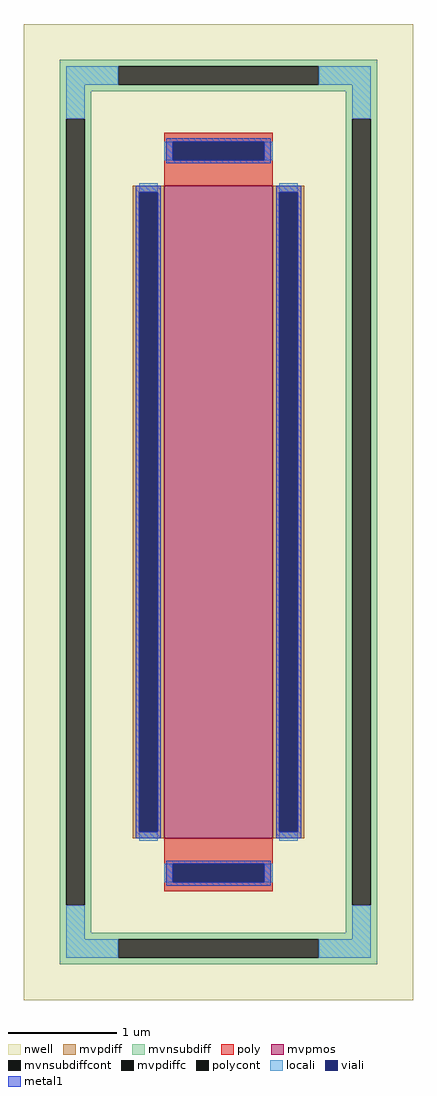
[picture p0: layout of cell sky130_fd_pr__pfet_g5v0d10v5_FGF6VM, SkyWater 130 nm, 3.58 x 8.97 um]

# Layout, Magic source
magic
tech sky130A
magscale 1 2
<< nwell >>
rect -358 -897 358 897
<< mvpmos >>
rect -100 -600 100 600
<< mvpdiff >>
rect -158 588 -100 600
rect -158 -588 -146 588
rect -112 -588 -100 588
rect -158 -600 -100 -588
rect 100 588 158 600
rect 100 -588 112 588
rect 146 -588 158 588
rect 100 -600 158 -588
<< mvpdiffc >>
rect -146 -588 -112 588
rect 112 -588 146 588
<< mvnsubdiff >>
rect -292 819 292 831
rect -292 785 -184 819
rect 184 785 292 819
rect -292 773 292 785
rect -292 723 -234 773
rect -292 -723 -280 723
rect -246 -723 -234 723
rect 234 723 292 773
rect -292 -773 -234 -723
rect 234 -723 246 723
rect 280 -723 292 723
rect 234 -773 292 -723
rect -292 -785 292 -773
rect -292 -819 -184 -785
rect 184 -819 292 -785
rect -292 -831 292 -819
<< mvnsubdiffcont >>
rect -184 785 184 819
rect -280 -723 -246 723
rect 246 -723 280 723
rect -184 -819 184 -785
<< poly >>
rect -100 681 100 697
rect -100 647 -84 681
rect 84 647 100 681
rect -100 600 100 647
rect -100 -647 100 -600
rect -100 -681 -84 -647
rect 84 -681 100 -647
rect -100 -697 100 -681
<< polycont >>
rect -84 647 84 681
rect -84 -681 84 -647
<< locali >>
rect -280 785 -184 819
rect 184 785 280 819
rect -280 723 -246 785
rect 246 723 280 785
rect -100 647 -84 681
rect 84 647 100 681
rect -146 588 -112 604
rect -146 -604 -112 -588
rect 112 588 146 604
rect 112 -604 146 -588
rect -100 -681 -84 -647
rect 84 -681 100 -647
rect -280 -785 -246 -723
rect 246 -785 280 -723
rect -280 -819 -184 -785
rect 184 -819 280 -785
<< viali >>
rect -84 647 84 681
rect -146 -588 -112 588
rect 112 -588 146 588
rect -84 -681 84 -647
<< metal1 >>
rect -96 681 96 687
rect -96 647 -84 681
rect 84 647 96 681
rect -96 641 96 647
rect -152 588 -106 600
rect -152 -588 -146 588
rect -112 -588 -106 588
rect -152 -600 -106 -588
rect 106 588 152 600
rect 106 -588 112 588
rect 146 -588 152 588
rect 106 -600 152 -588
rect -96 -647 96 -641
rect -96 -681 -84 -647
rect 84 -681 96 -647
rect -96 -687 96 -681
<< properties >>
string FIXED_BBOX -263 -802 263 802
string gencell sky130_fd_pr__pfet_g5v0d10v5
string library sky130
string parameters w 6.0 l 1.0 m 1 nf 1 diffcov 100 polycov 100 guard 1 glc 1 grc 1 gtc 1 gbc 1 tbcov 100 rlcov 100 topc 1 botc 1 poverlap 0 doverlap 1 lmin 0.50 wmin 0.42 compatible {sky130_fd_pr__pfet_01v8  sky130_fd_pr__pfet_01v8_lvt sky130_fd_pr__pfet_01v8_hvt  sky130_fd_pr__pfet_g5v0d10v5} full_metal 1 viasrc 100 viadrn 100 viagate 100 viagb 0 viagr 0 viagl 0 viagt 0
<< end >>
